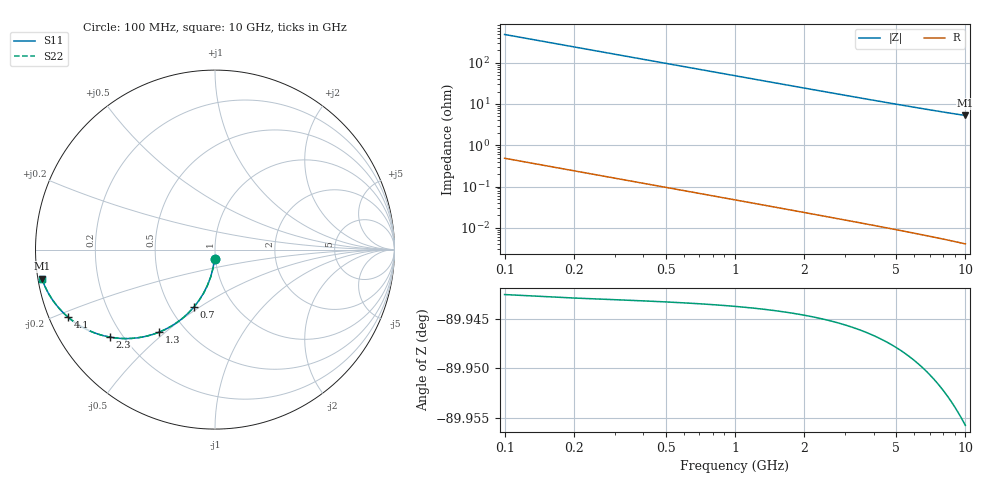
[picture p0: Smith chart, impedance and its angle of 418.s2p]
# Hz S RI R 50.00
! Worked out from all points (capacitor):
!   100 points, 100 MHz to 10 GHz, reference 50 ohm
!   read as one part in shunt: C = 3.29 pF near 100 MHz
!   lowest |Z| = 5.26 ohm at 10 GHz (marker M1)
!   S11 on the Smith chart (normalised r, x): 100 MHz: 0.99, -0.10; 700 MHz: 0.66, -0.47; 1.3 GHz: 0.36, -0.48; 2.3 GHz: 0.15, -0.35; 4.1 GHz: 0.05, -0.22; 10 GHz: 0.01, -0.08
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1e8  -0.00268 -0.0514  0.9972 -0.0518  0.9972 -0.0518  -0.00268 -0.0514
2e8  -0.0107 -0.1019  0.9893 -0.1027  0.9893 -0.1027  -0.0107 -0.1019
3e8  -0.0236 -0.1509  0.9763 -0.1521  0.9763 -0.1521  -0.0236 -0.1509
4e8  -0.0412 -0.1975  0.9587 -0.1991  0.9587 -0.1991  -0.0412 -0.1975
5e8  -0.0628 -0.2413  0.9371 -0.2432  0.9371 -0.2432  -0.0628 -0.2413
6e8  -0.088 -0.2817  0.9119 -0.284  0.9119 -0.284  -0.088 -0.2817
7e8  -0.116 -0.3184  0.8839 -0.3212  0.8839 -0.3212  -0.116 -0.3184
8e8  -0.1463 -0.3514  0.8536 -0.3545  0.8536 -0.3545  -0.1463 -0.3514
1e9  -0.2111 -0.4056  0.7888 -0.4096  0.7888 -0.4096  -0.2111 -0.4056
1.3e9  -0.3112 -0.4599  0.6887 -0.4651  0.6887 -0.4651  -0.3112 -0.4599
1.5e9  -0.3755 -0.4808  0.6245 -0.4867  0.6245 -0.4867  -0.3755 -0.4808
1.8e9  -0.4638 -0.4946  0.5361 -0.5017  0.5361 -0.5017  -0.4638 -0.4946
2e9  -0.5164 -0.4953  0.4835 -0.5032  0.4835 -0.5032  -0.5164 -0.4953
2.3e9  -0.5853 -0.4876  0.4146 -0.4967  0.4146 -0.4967  -0.5853 -0.4876
2.8e9  -0.6764 -0.4617  0.3234 -0.4729  0.3234 -0.4729  -0.6764 -0.4617
3.4e9  -0.755 -0.4227  0.2448 -0.4363  0.2448 -0.4363  -0.755 -0.4227
4.1e9  -0.8177 -0.3773  0.1821 -0.3938  0.1821 -0.3938  -0.8177 -0.3773
5.1e9  -0.8742 -0.3205  0.1255 -0.3413  0.1255 -0.3413  -0.8742 -0.3205
5.8e9  -0.9001 -0.2872  0.0995 -0.311  0.0995 -0.311  -0.9001 -0.2872
6.7e9  -0.9235 -0.2511  0.0761 -0.2788  0.0761 -0.2788  -0.9235 -0.2511
8.4e9  -0.9503 -0.1983  0.049 -0.2336  0.049 -0.2336  -0.9503 -0.1983
1e10  -0.9648 -0.1612  0.0342 -0.2039  0.0342 -0.2039  -0.9648 -0.1612
